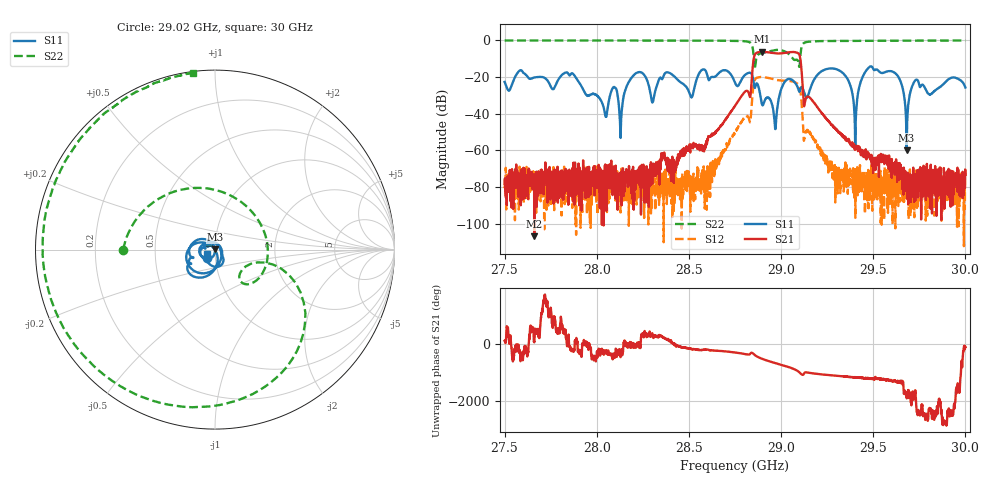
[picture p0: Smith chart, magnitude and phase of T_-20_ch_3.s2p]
!Keysight Technologies,N5234A,MY55441357,A.10.47.05
!Date: Sunday, November 19, 2017 16:08:45
!Correction: S11(Full 2 Port(1,2))
!S21(Full 2 Port(1,2))
!S12(Full 2 Port(1,2))
!S22(Full 2 Port(1,2))
!S2P File: Measurements: S11, S21, S12, S22:
# Hz S  dB  R 50
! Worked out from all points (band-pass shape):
!   2501 points, 27.5 GHz to 30 GHz, reference 50 ohm
!   highest |S21| = -6.26 dB at 28.9 GHz (marker M1); lowest = -107.1 dB at 27.66 GHz (marker M2)
!   |S21| within 3 dB of the highest: 28.85 GHz to 29.1 GHz (249.8 MHz wide, 0.862 % of centre)
!   lowest |S11| = -60.0 dB at 29.68 GHz (marker M3), VSWR 1.00, Z = 50 + j0.0998 ohm
!   |S11| at or under -10 dB: start of sweep to end of sweep
!   |S22| runs from -15.8 to -0.1 dB; largest |S21 - S12| = 0.42
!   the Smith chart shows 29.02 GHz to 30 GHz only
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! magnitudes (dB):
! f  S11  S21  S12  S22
! 27.5 GHz  -22.7  -78.3  -79.9  -0.1
! 27.66 GHz  -20.3  -107.1  -84.8  -0.1
! 27.92 GHz  -25.1  -91.2  -80.1  -0.1
! 28.05 GHz  -41.3  -73.4  -83.1  -0.1
! 28.1 GHz  -25.7  -72.7  -71.1  -0.1
! 28.13 GHz  -53.3  -73.0  -94.0  -0.1
! 28.21 GHz  -18.5  -74.5  -87.8  -0.1
! 28.33 GHz  -22.4  -71.3  -77.2  -0.1
! 28.59 GHz  -16.2  -59.0  -76.5  -0.2
! 28.75 GHz  -23.0  -35.8  -50.2  -0.3
! 28.9 GHz  -35.2  -6.3  -20.0  -6.9
! 28.97 GHz  -48.4  -7.1  -21.4  -5.3
! 29.09 GHz  -25.4  -6.8  -23.7  -10.8
! 29.13 GHz  -29.2  -34.6  -52.7  -1.3
! 29.17 GHz  -24.0  -32.5  -52.8  -0.6
! 29.32 GHz  -16.7  -50.8  -83.4  -0.3
! 29.4 GHz  -58.5  -57.5  -69.7  -0.3
! 29.47 GHz  -15.7  -63.9  -77.7  -0.3
! 29.58 GHz  -16.8  -70.2  -70.5  -0.3
! 29.68 GHz  -60.0  -76.9  -81.4  -0.2
! 29.73 GHz  -21.6  -79.8  -70.5  -0.2
! 30 GHz  -25.8  -73.5  -78.5  -0.1
